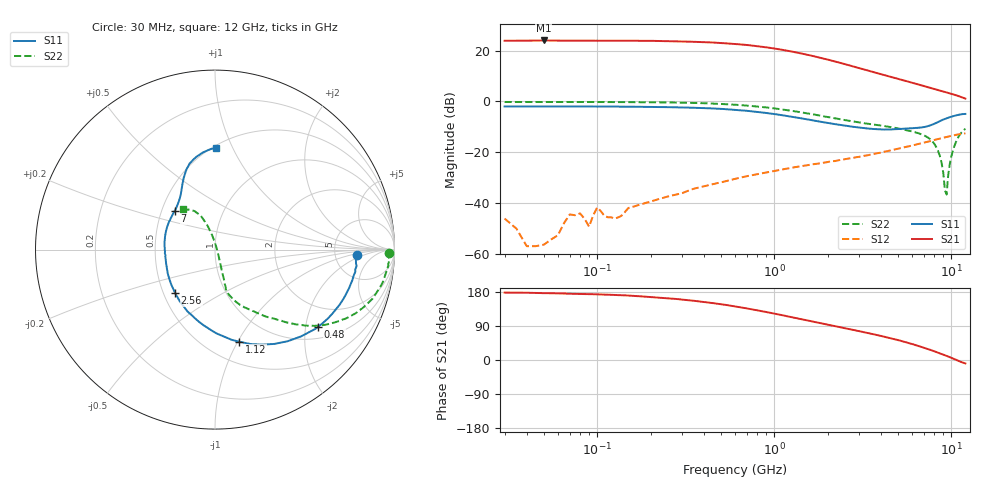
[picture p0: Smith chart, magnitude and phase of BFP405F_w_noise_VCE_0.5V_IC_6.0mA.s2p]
! Infineon Technologies  Discrete & RF Semiconductors
! BFP405F
! VCE =  0.5 V,  IC =  6.0 mA
! Common Emitter S-Parameters:  Nov 2015
# GHz  S  MA  R  50
!  f  S11  S21  S12  S22
! GHz  MAG  ANG  MAG  ANG  MAG  ANG  MAG  ANG
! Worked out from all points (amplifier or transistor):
!   239 points, 30 MHz to 12 GHz, reference 50 ohm
!   highest |S21| = 24.0 dB at 50 MHz (marker M1)
!   |S21| within 3 dB of that: start of sweep to 963.8 MHz
!   unconditionally stable (mu >= 1): 43.75 MHz to 55.1 MHz; 2.45 GHz to end of sweep
!   at 300 MHz: K = 0.19, MSG = 29.9 dB, |S12| = -36.2 dB
!   at 1.88 GHz: K = 0.83, MSG = 20.6 dB, |S12| = -24.2 dB
!   at 12 GHz: K = 1.44, MAG = 2.9 dB, |S12| = -12.6 dB
!   lowest NFmin = 1.38 dB at 450 MHz
!   S11 on the Smith chart (normalised r, x): 30 MHz: 8.43, -1.32; 480 MHz: 1.32, -2.34; 1.12 GHz: 0.71, -1.01; 2.56 GHz: 0.57, -0.31; 7 GHz: 0.58, +0.28; 12 GHz: 0.52, +0.86
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0.03  0.7926 -2.1  15.62 177.9  0.0049 82.6  0.972 -1.0
0.04  0.7917 -3.2  15.69 177.5  0.0014 60.7  0.9705 -1.7
0.05  0.7872 -4.2  15.85 176.4  0.0015 20.0  0.9737 -2.4
0.07  0.7896 -5.7  15.71 174.8  0.0059 63.0  0.9718 -3.0
0.085  0.7932 -6.9  15.69 174.0  0.0048 99.4  0.9716 -3.6
0.145  0.7846 -11.7  15.67 170.5  0.0069 85.6  0.9669 -6.3
0.24  0.7704 -19.1  15.38 163.6  0.0128 82.1  0.9534 -10.6
0.34  0.7504 -26.7  14.97 157.0  0.0183 78.2  0.9321 -14.8
0.48  0.717 -36.9  14.24 148.3  0.0246 72.5  0.8951 -20.3
0.6  0.6806 -45.3  13.51 141.4  0.0298 68.4  0.859 -24.5
0.9  0.5904 -63.7  11.63 126.5  0.0397 62.2  0.7588 -33.1
1.12  0.5302 -75.3  10.3 117.8  0.0459 59.4  0.689 -38.0
1.64  0.4236 -99.2  7.866 101.7  0.0573 54.2  0.5585 -46.1
2.08  0.3676 -116.7  6.431 91.6  0.0655 51.5  0.4803 -51.8
2.56  0.3277 -132.8  5.294 83.0  0.0735 50.0  0.4219 -56.6
3.3  0.2949 -153.2  4.144 72.1  0.0857 48.2  0.3659 -62.3
4.5  0.2803 -179.7  3.066 58.1  0.1073 45.4  0.3135 -68.0
7  0.3111 136.0  2.002 32.3  0.1533 36.1  0.2145 -74.0
8.4  0.3915 118.2  1.674 19.6  0.1808 29.6  0.1067 -71.0
9.4  0.464 110.6  1.496 10.9  0.1986 24.2  0.0146 57.6
10.2  0.5091 104.7  1.379 4.1  0.2125 19.8  0.1071 104.6
12  0.5647 89.6  1.134 -9.1  0.2341 11.4  0.2885 128.6
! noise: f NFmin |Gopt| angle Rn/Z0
0.45  1.38  0.34  6  0.33
0.9  1.39  0.31  11  0.33
1.5  1.45  0.29  18  0.31
1.9  1.48  0.27  24  0.3
2.4  1.63  0.26  33  0.32
3  1.7  0.24  45  0.31
3.5  1.75  0.22  54  0.28
4.5  1.9  0.17  62  0.22
5.5  2.12  0.09  71  0.09
